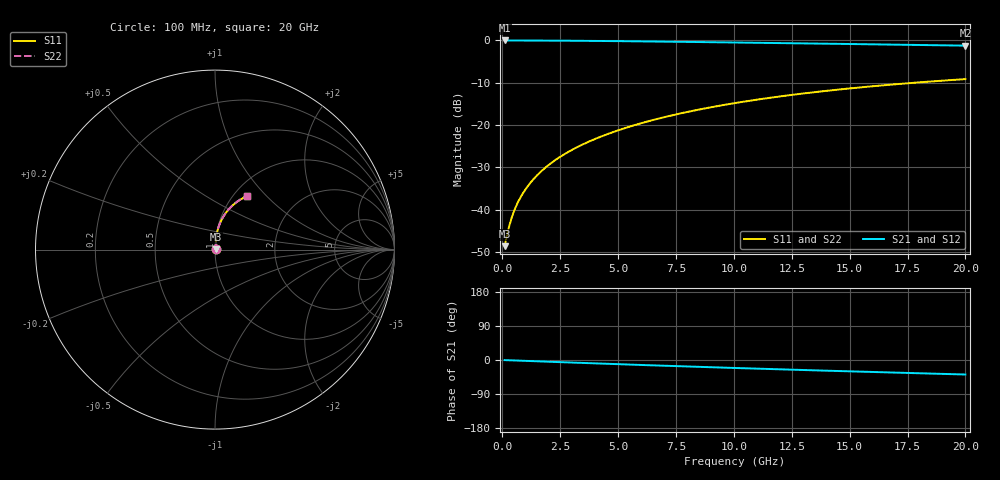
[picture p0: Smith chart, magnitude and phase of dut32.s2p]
! Touchstone file exported from HFSS 2024.1.0
!  File:  C:/UserFiles/LocalFiles/RDL_TSV_Batchsim/temp_RDL_bottom_32_1778692230.aedt
!  Generated:  01:13:01 AM May 14, 2026
!  Design:  RDL_bottom
!  Project:  temp_RDL_bottom_32_1778692230
!  Setup:  Setup1
!  Solution:  Sweep
! Variables:
!  dtsv = 10.80580581um
!  hbump = 3um
!  htsv = 77.51um
!  ldown = 537.4um
!  lrdl = 100um
!  p = 40
!  p1 = 48.1um
!  rhole = 1um
!  t = 450um
!  tdown = 2.88um
!  trdl = 3.915915916um
!  wdown = 22.16um
!  wrdl = 20um
# GHz S MA R 50.000000
! Terminal data exported
! Port[1] = RDL1_T1
! Port[2] = RDL1_T2
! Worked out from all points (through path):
!   200 points, 100 MHz to 20 GHz, reference 50 ohm
!   highest |S21| = -0.03 dB at 100 MHz (marker M1); lowest = -1.3 dB at 20 GHz (marker M2)
!   group delay of S21, straight-line fit = 5.28 ps
!   lowest |S11| = -48.6 dB at 100 MHz (marker M3), VSWR 1.01, Z = 50.3 + j0.187 ohm
!   |S11| at or under -10 dB: start of sweep to 17.81 GHz
!   |S22| runs from -48.6 to -9.1 dB; largest |S21 - S12| = 3e-15
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0.1  0.003722 30.0  0.9968 -0.2  0.9968 -0.2  0.003722 30.0
! Gamma 0 0 0 0
! Port Impedance 50 0 50 0
0.2  0.004965 47.7  0.9966 -0.5  0.9966 -0.5  0.004965 47.7
0.3  0.006442 57.2  0.9964 -0.7  0.9964 -0.7  0.006442 57.2
0.4  0.007978 62.9  0.9963 -0.9  0.9963 -0.9  0.007978 62.9
0.5  0.009529 66.7  0.9961 -1.2  0.9961 -1.2  0.009528 66.7
0.6  0.01108 69.6  0.9959 -1.4  0.9959 -1.4  0.01108 69.6
0.8  0.01422 73.5  0.9955 -1.8  0.9955 -1.8  0.01422 73.5
1.1  0.019 77.2  0.995 -2.5  0.995 -2.5  0.019 77.2
1.3  0.02223 78.8  0.9946 -3.0  0.9946 -3.0  0.02223 78.8
1.6  0.02714 80.5  0.9939 -3.6  0.9939 -3.6  0.02714 80.5
2.1  0.03546 82.2  0.9924 -4.8  0.9924 -4.8  0.03546 82.2
2.7  0.04564 83.3  0.9903 -6.1  0.9903 -6.1  0.04565 83.3
3.5  0.05955 83.8  0.9869 -7.8  0.9869 -7.8  0.05956 83.9
4.2  0.07202 83.8  0.9833 -9.4  0.9833 -9.4  0.07204 83.8
5  0.08658 83.4  0.9787 -11.1  0.9787 -11.1  0.0866 83.4
6.8  0.1202 81.5  0.967 -14.8  0.967 -14.8  0.1203 81.6
8.4  0.1506 79.2  0.9556 -17.9  0.9556 -17.9  0.1507 79.3
10.1  0.1828 76.4  0.9429 -21.2  0.9429 -21.2  0.1829 76.5
11.7  0.2125 73.6  0.9307 -24.1  0.9307 -24.1  0.2126 73.7
13.4  0.2431 70.5  0.9175 -27.2  0.9175 -27.2  0.2433 70.6
16.7  0.2987 64.6  0.8917 -32.8  0.8917 -32.8  0.299 64.7
20  0.3488 59.0  0.8659 -38.3  0.8659 -38.3  0.3491 59.1
